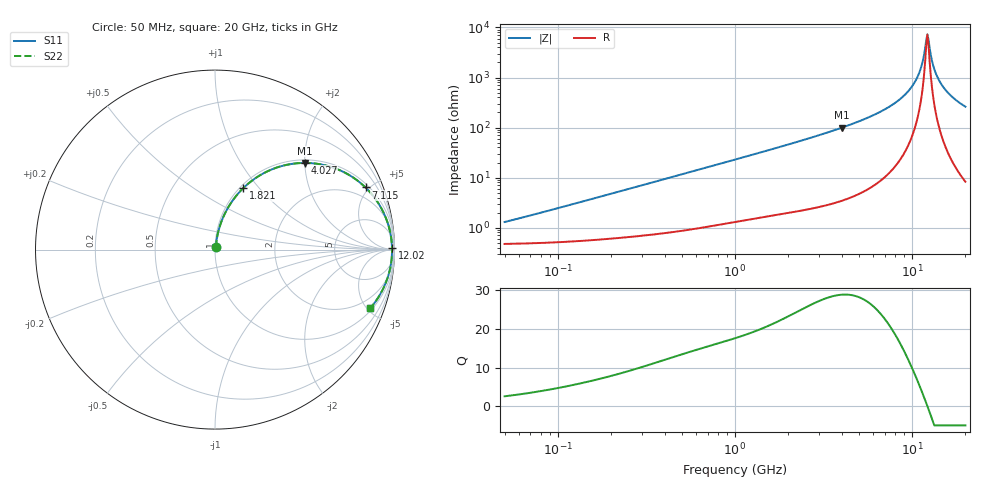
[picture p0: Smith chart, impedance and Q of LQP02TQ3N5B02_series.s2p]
!Murata Part Number: LQP02TQ3N5B02
!These Parameters are Measured in Series Mode Connection
!  o--[Z]--o
!Port1  Port2
!  o-------o
!Freq. Start=50[MHz] Stop=20[GHz], 401[Steps]
# Hz S RI R 50
!Freq.(Hz) S11(Real) S11(Imag) S21(Real) S21(Imag) S12(Real) S12(Imag) S22(Real) S22(Imag)
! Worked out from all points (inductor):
!   401 points, 50 MHz to 20 GHz, reference 50 ohm
!   read as one part in series: L = 3.83 nH near 59.85 MHz
!   highest Q = 28.9 at 4.027 GHz (marker M1), where L = 3.95 nH
!   self-resonance near 12.2 GHz
!   S11 on the Smith chart (normalised r, x): 50 MHz: 1.01, +0.02; 1.821 GHz: 1.04, +0.83; 4.027 GHz: 1.07, +2.00; 7.115 GHz: 1.21, +4.75; 12.02 GHz: open; 20 GHz: 1.17, -5.22
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5e7  0.00485 0.012  0.9952 -0.012  0.9952 -0.012  0.00485 0.012
1.364002e8  0.00645 0.0321  0.9935 -0.0321  0.9935 -0.0321  0.00645 0.0321
3.721004e8  0.0148 0.0848  0.9852 -0.0848  0.9852 -0.0848  0.0148 0.0848
1e9  0.0606 0.2119  0.9394 -0.2119  0.9394 -0.2119  0.0606 0.2119
1.820564e9  0.1587 0.3437  0.8413 -0.3437  0.8413 -0.3437  0.1587 0.3437
2.728004e9  0.2961 0.438  0.7039 -0.438  0.7039 -0.438  0.2961 0.438
4.026975e9  0.4997 0.483  0.5003 -0.483  0.5003 -0.483  0.4997 0.483
5.352748e9  0.6756 0.4504  0.3244 -0.4504  0.3244 -0.4504  0.6756 0.4504
7.114996e9  0.8386 0.3461  0.1614 -0.3461  0.1614 -0.3461  0.8386 0.3461
7.442007e9  0.8606 0.3233  0.1394 -0.3233  0.1394 -0.3233  0.8606 0.3233
9.041845e9  0.9378 0.2088  0.0622 -0.2088  0.0622 -0.2088  0.9378 0.2088
1.034674e10  0.971 0.118  0.029 -0.118  0.029 -0.118  0.971 0.118
1.115139e10  0.9816 0.065  0.0184 -0.065  0.0184 -0.065  0.9816 0.065
1.149051e10  0.9841 0.0435  0.0159 -0.0435  0.0159 -0.0435  0.9841 0.0435
1.201863e10  0.9862 0.0111  0.0138 -0.0111  0.0138 -0.0111  0.9862 0.0111
1.220001e10  0.9864 0.000245  0.0136 -0.000245  0.0136 -0.000245  0.9864 0.000245
1.238412e10  0.9863 -0.0106  0.0137 0.0106  0.0137 0.0106  0.9863 -0.0106
1.334722e10  0.9826 -0.0646  0.0174 0.0646  0.0174 0.0646  0.9826 -0.0646
1.396067e10  0.9774 -0.0967  0.0226 0.0967  0.0226 0.0967  0.9774 -0.0967
1.460232e10  0.9702 -0.1284  0.0298 0.1284  0.0298 0.1284  0.9702 -0.1284
1.670968e10  0.9361 -0.2196  0.0639 0.2196  0.0639 0.2196  0.9361 -0.2196
2e10  0.8646 -0.3267  0.1354 0.3267  0.1354 0.3267  0.8646 -0.3267
